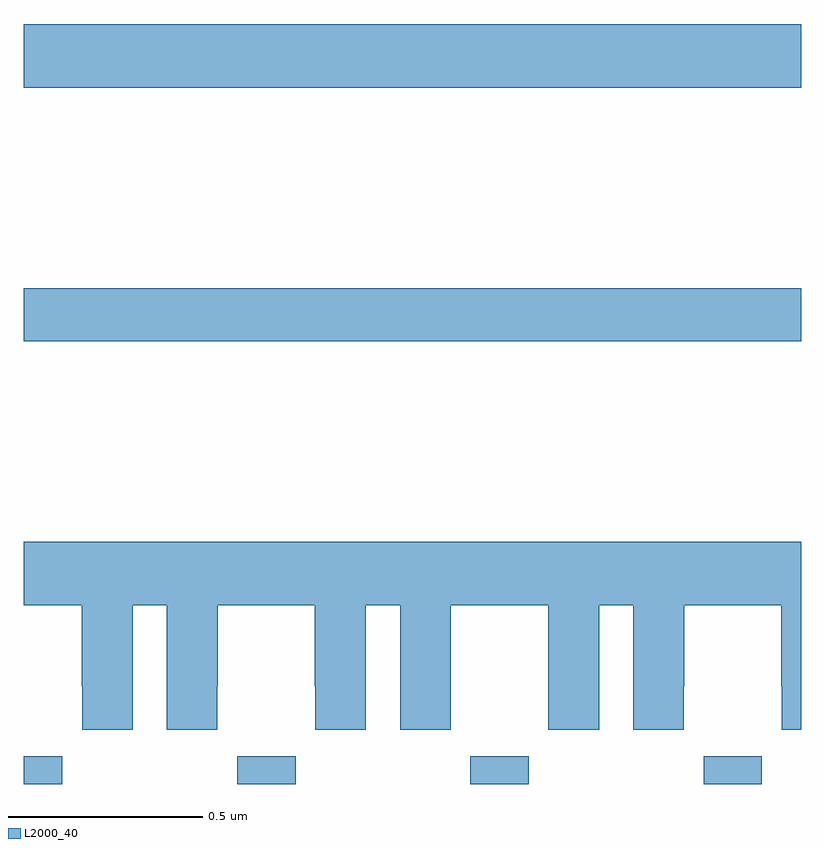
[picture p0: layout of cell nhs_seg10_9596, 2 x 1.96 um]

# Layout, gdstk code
import gdstk
lib = gdstk.Library(unit=1e-6, precision=1e-09)
def R(c, l, rs):  # rectangles x0, y0, x1, y1
    for r in rs: c.add(gdstk.rectangle(r[:2], r[2:], *l))
def A(c, l, x, y, w, h, nx, ny, dx, dy):  # array of equal rectangles
    R(c, l, [(x+i*dx, y+j*dy, x+i*dx+w, y+j*dy+h) for i in range(nx) for j in range(ny)])
def P(c, l, *ps):  # polygons
    for p in ps: c.add(gdstk.Polygon(p, *l))
L2000_40 = (2000, 40)

nhs_seg10_9596 = lib.new_cell('nhs_seg10_9596')
A(nhs_seg10_9596, L2000_40, 231.549, 1322.5, 0.15, 0.072, 3, 1, 0.6, 0)
R(nhs_seg10_9596, L2000_40, [(231,1322.5,231.099,1322.572), (231,1323.64,233,1323.776), (231,1324.292,233,1324.456)])
P(nhs_seg10_9596, L2000_40, [(231,1322.96),(231.149,1322.96),(231.149,1322.752),(231.15,1322.752),(231.15,1322.64),(231.28,1322.64),(231.28,1322.96),(231.368,1322.96),(231.368,1322.64),(231.498,1322.64),(231.498,1322.752),(231.499,1322.752),(231.499,1322.96),(231.749,1322.96),(231.749,1322.752),(231.75,1322.752),(231.75,1322.64),(231.88,1322.64),(231.88,1322.96),(231.968,1322.96),(231.968,1322.64),(232.098,1322.64),(232.098,1322.752),(232.099,1322.752),(232.099,1322.96),(232.349,1322.96),(232.349,1322.752),(232.35,1322.752),(232.35,1322.64),(232.48,1322.64),(232.48,1322.96),(232.568,1322.96),(232.568,1322.64),(232.698,1322.64),(232.698,1322.752),(232.699,1322.752),(232.699,1322.96),(232.949,1322.96),(232.949,1322.752),(232.95,1322.752),(232.95,1322.64),(233,1322.64),(233,1323.124),(231,1323.124)])

lib.write_gds('nhs_seg10_9596.gds')
